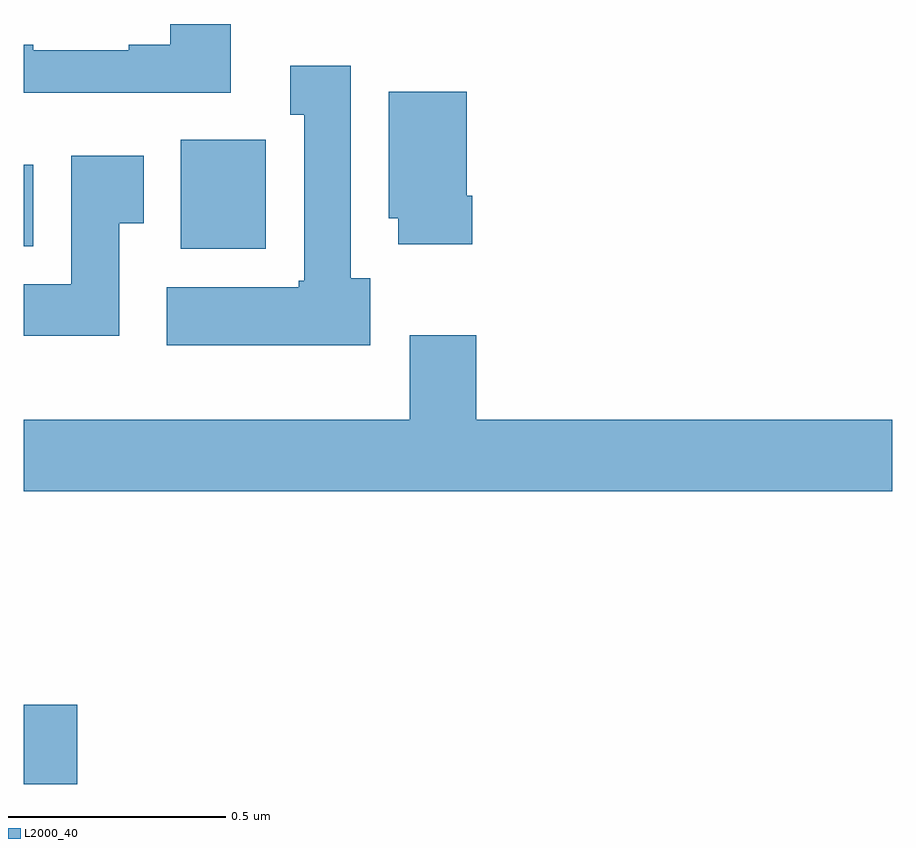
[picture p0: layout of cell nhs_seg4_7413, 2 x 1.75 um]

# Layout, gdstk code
import gdstk
lib = gdstk.Library(unit=1e-6, precision=1e-09)
def R(c, l, rs):  # rectangles x0, y0, x1, y1
    for r in rs: c.add(gdstk.rectangle(r[:2], r[2:], *l))
def P(c, l, *ps):  # polygons
    for p in ps: c.add(gdstk.Polygon(p, *l))
L2000_40 = (2000, 40)

nhs_seg4_7413 = lib.new_cell('nhs_seg4_7413')
R(nhs_seg4_7413, L2000_40, [(202,792.149,202.123,792.332), (202.361,793.382,202.557,793.633), (202,793.388,202.021,793.576)])
P(nhs_seg4_7413, L2000_40, [(202.477,793.9),(202.337,793.9),(202.337,793.852),(202.241,793.852),(202.241,793.839),(202.021,793.839),(202.021,793.852),(202,793.852),(202,793.742),(202.477,793.742)],
  [(202.798,793.314),(202.753,793.314),(202.753,793.804),(202.613,793.804),(202.613,793.691),(202.646,793.691),(202.646,793.308),(202.633,793.308),(202.633,793.294),(202.329,793.294),(202.329,793.16),(202.798,793.16)],
  [(203.033,793.504),(203.02,793.504),(203.02,793.744),(202.841,793.744),(202.841,793.452),(202.862,793.452),(202.862,793.392),(203.033,793.392)],
  [(202.219,793.441),(202.276,793.441),(202.276,793.597),(202.109,793.597),(202.109,793.3),(202,793.3),(202,793.182),(202.219,793.182)],
  [(204,792.988),(203.042,792.988),(203.042,793.183),(202.889,793.183),(202.889,792.988),(202,792.988),(202,792.824),(204,792.824)])

lib.write_gds('nhs_seg4_7413.gds')
